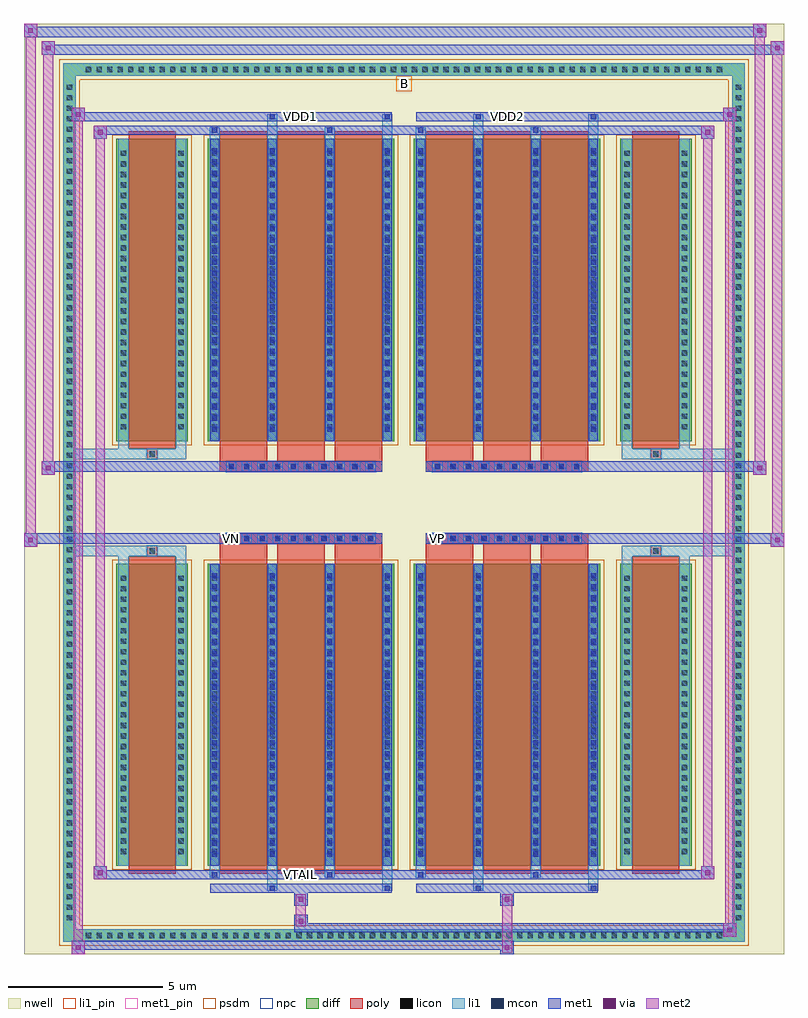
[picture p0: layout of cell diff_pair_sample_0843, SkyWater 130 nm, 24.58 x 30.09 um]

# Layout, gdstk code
import gdstk
lib = gdstk.Library(unit=1e-6, precision=5e-09)
def R(c, l, rs):  # rectangles x0, y0, x1, y1
    for r in rs: c.add(gdstk.rectangle(r[:2], r[2:], *l))
def A(c, l, x, y, w, h, nx, ny, dx, dy):  # array of equal rectangles
    R(c, l, [(x+i*dx, y+j*dy, x+i*dx+w, y+j*dy+h) for i in range(nx) for j in range(ny)])
def P(c, l, *ps):  # polygons
    for p in ps: c.add(gdstk.Polygon(p, *l))
nwell = (64, 20)
diff = (65, 20)
poly = (66, 20)
licon = (66, 44)
li1_pin = (67, 16)
li1 = (67, 20)
mcon = (67, 44)
met1_pin = (68, 16)
met1 = (68, 20)
via = (68, 44)
met2 = (69, 20)
psdm = (94, 20)
npc = (95, 20)

diff_pair_sample_0843 = lib.new_cell('diff_pair_sample_0843')
R(diff_pair_sample_0843, nwell, [(-12.29,-14.61,12.29,15.48), (-9.61,-12.8,-0.01,-0.8), (0.01,-12.8,9.61,-0.8), (-9.61,0.8,-0.01,12.8), (0.01,0.8,9.61,12.8)])
A(diff_pair_sample_0843, diff, -10.405, -14.21, 0.41, 0.41, 61, 2, 0.34, 28.01)
A(diff_pair_sample_0843, diff, -11.02, -13.635, 0.41, 0.41, 1, 80, 0, 0.34)
A(diff_pair_sample_0843, diff, 10.61, -13.635, 0.41, 0.41, 1, 80, 0, 0.34)
R(diff_pair_sample_0843, diff, [(-10.405,-14.21,10.405,-13.8), (-11.02,-13.635,-10.61,13.635), (10.61,-13.635,11.02,13.635), (-9.3,-11.755,-6.99,-1.985), (-6.35,-11.755,-0.32,-1.985), (0.32,-11.755,6.35,-1.985), (6.99,-11.755,9.3,-1.985), (-9.3,1.985,-6.99,11.755), (-6.35,1.985,-0.32,11.755), (0.32,1.985,6.35,11.755), (6.99,1.985,9.3,11.755), (-10.405,13.8,10.405,14.21)])
P(diff_pair_sample_0843, diff, [(11.02,14.21),(-11.02,14.21),(-11.02,-13.8),(-10.61,-13.8),(-10.61,13.8),(10.61,13.8),(10.61,-13.8),(-10.61,-13.8),(-11.02,-13.8),(-11.02,-14.21),(11.02,-14.21)])
A(diff_pair_sample_0843, poly, -5.96, -12.005, 1.53, 10.27, 3, 2, 1.86, 13.74)
A(diff_pair_sample_0843, poly, 0.71, -12.005, 1.53, 10.27, 3, 2, 1.86, 13.74)
A(diff_pair_sample_0843, poly, -5.96, -1.735, 1.53, 0.405, 3, 2, 1.86, 3.065)
A(diff_pair_sample_0843, poly, 0.71, -1.735, 1.53, 0.405, 3, 2, 1.86, 3.065)
A(diff_pair_sample_0843, poly, -5.75, -1.33, 0.33, 0.33, 10, 2, 0.5, 2.33)
A(diff_pair_sample_0843, poly, 0.92, -1.33, 0.33, 0.33, 10, 2, 0.5, 2.33)
R(diff_pair_sample_0843, poly, [(-8.91,-12.005,-7.38,-1.735), (7.38,-12.005,8.91,-1.735), (-8.31,-1.735,-7.98,-1.405), (-8.31,-1.735,-7.98,-1.405), (7.98,-1.735,8.31,-1.405), (7.98,-1.735,8.31,-1.405), (-5.96,-1.33,-0.71,-1), (0.71,-1.33,5.96,-1), (-5.96,1,-0.71,1.33), (0.71,1,5.96,1.33), (-8.31,1.405,-7.98,1.735), (-8.31,1.405,-7.98,1.735), (7.98,1.405,8.31,1.735), (7.98,1.405,8.31,1.735), (-8.91,1.735,-7.38,12.005), (7.38,1.735,8.91,12.005)])
A(diff_pair_sample_0843, licon, -10.285, -14.09, 0.17, 0.17, 61, 2, 0.34, 28.01)
A(diff_pair_sample_0843, licon, -10.9, -13.515, 0.17, 0.17, 1, 80, 0, 0.34)
A(diff_pair_sample_0843, licon, 10.73, -13.515, 0.17, 0.17, 1, 80, 0, 0.34)
A(diff_pair_sample_0843, licon, -9.16, -11.375, 0.17, 0.17, 1, 27, 0, 0.34)
A(diff_pair_sample_0843, licon, -7.3, -11.375, 0.17, 0.17, 1, 27, 0, 0.34)
A(diff_pair_sample_0843, licon, -6.21, -11.375, 0.17, 0.17, 4, 27, 1.86, 0.34)
A(diff_pair_sample_0843, licon, 0.46, -11.375, 0.17, 0.17, 4, 27, 1.86, 0.34)
A(diff_pair_sample_0843, licon, 7.13, -11.375, 0.17, 0.17, 1, 27, 0, 0.34)
A(diff_pair_sample_0843, licon, 8.99, -11.375, 0.17, 0.17, 1, 27, 0, 0.34)
A(diff_pair_sample_0843, licon, -5.67, -1.25, 0.17, 0.17, 10, 2, 0.5, 2.33)
A(diff_pair_sample_0843, licon, 1, -1.25, 0.17, 0.17, 10, 2, 0.5, 2.33)
A(diff_pair_sample_0843, licon, -9.16, 2.365, 0.17, 0.17, 1, 27, 0, 0.34)
A(diff_pair_sample_0843, licon, -7.3, 2.365, 0.17, 0.17, 1, 27, 0, 0.34)
A(diff_pair_sample_0843, licon, -6.21, 2.365, 0.17, 0.17, 4, 27, 1.86, 0.34)
A(diff_pair_sample_0843, licon, 0.46, 2.365, 0.17, 0.17, 4, 27, 1.86, 0.34)
A(diff_pair_sample_0843, licon, 7.13, 2.365, 0.17, 0.17, 1, 27, 0, 0.34)
A(diff_pair_sample_0843, licon, 8.99, 2.365, 0.17, 0.17, 1, 27, 0, 0.34)
R(diff_pair_sample_0843, licon, [(-8.23,-1.655,-8.06,-1.485), (8.06,-1.655,8.23,-1.485), (-8.23,1.485,-8.06,1.655), (8.06,1.485,8.23,1.655)])
R(diff_pair_sample_0843, li1_pin, [(-0.25,13.3,0.25,13.8)])
A(diff_pair_sample_0843, li1, -10.365, -14.17, 0.33, 0.33, 61, 2, 0.34, 28.01)
A(diff_pair_sample_0843, li1, -10.98, -13.595, 0.33, 0.33, 1, 80, 0, 0.34)
A(diff_pair_sample_0843, li1, 10.65, -13.595, 0.33, 0.33, 1, 80, 0, 0.34)
A(diff_pair_sample_0843, li1, -6.29, -11.755, 0.33, 9.77, 4, 2, 1.86, 13.74)
A(diff_pair_sample_0843, li1, 0.38, -11.755, 0.33, 9.77, 4, 2, 1.86, 13.74)
A(diff_pair_sample_0843, li1, -9.24, -11.455, 0.33, 0.33, 1, 27, 0, 0.34)
A(diff_pair_sample_0843, li1, -7.38, -11.455, 0.33, 0.33, 1, 27, 0, 0.34)
A(diff_pair_sample_0843, li1, -6.29, -11.455, 0.33, 0.33, 4, 27, 1.86, 0.34)
A(diff_pair_sample_0843, li1, -6.21, -11.455, 0.17, 0.17, 4, 26, 1.86, 0.36)
A(diff_pair_sample_0843, li1, -6.21, -11.455, 0.17, 9.17, 4, 2, 1.86, 13.74)
A(diff_pair_sample_0843, li1, 0.38, -11.455, 0.33, 0.33, 4, 27, 1.86, 0.34)
A(diff_pair_sample_0843, li1, 0.46, -11.455, 0.17, 0.17, 4, 26, 1.86, 0.36)
A(diff_pair_sample_0843, li1, 0.46, -11.455, 0.17, 9.17, 4, 2, 1.86, 13.74)
A(diff_pair_sample_0843, li1, 7.05, -11.455, 0.33, 0.33, 1, 27, 0, 0.34)
A(diff_pair_sample_0843, li1, 8.91, -11.455, 0.33, 0.33, 1, 27, 0, 0.34)
A(diff_pair_sample_0843, li1, -5.75, -1.33, 0.33, 0.33, 10, 2, 0.5, 2.33)
A(diff_pair_sample_0843, li1, 0.92, -1.33, 0.33, 0.33, 10, 2, 0.5, 2.33)
A(diff_pair_sample_0843, li1, -9.24, 2.285, 0.33, 0.33, 1, 27, 0, 0.34)
A(diff_pair_sample_0843, li1, -7.38, 2.285, 0.33, 0.33, 1, 27, 0, 0.34)
A(diff_pair_sample_0843, li1, -6.29, 2.285, 0.33, 0.33, 4, 27, 1.86, 0.34)
A(diff_pair_sample_0843, li1, -6.21, 2.285, 0.17, 0.17, 4, 26, 1.86, 0.36)
A(diff_pair_sample_0843, li1, 0.38, 2.285, 0.33, 0.33, 4, 27, 1.86, 0.34)
A(diff_pair_sample_0843, li1, 0.46, 2.285, 0.17, 0.17, 4, 26, 1.86, 0.36)
A(diff_pair_sample_0843, li1, 7.05, 2.285, 0.33, 0.33, 1, 27, 0, 0.34)
A(diff_pair_sample_0843, li1, 8.91, 2.285, 0.33, 0.33, 1, 27, 0, 0.34)
R(diff_pair_sample_0843, li1, [(-11.02,-14.21,-10.61,-13.8), (-11.02,-14.21,-10.61,-13.8), (-10.61,-14.21,10.61,-13.8), (10.61,-14.21,11.02,-13.8), (10.61,-14.21,11.02,-13.8), (-11.02,-13.8,-10.61,13.8), (10.61,-13.8,11.02,13.8), (-4.43,-12.56,-4.1,-11.755), (-4.35,-12.56,-4.18,-12.39), (-0.71,-12.56,-0.38,-11.755), (-0.63,-12.56,-0.46,-12.39), (2.24,-12.56,2.57,-11.755), (2.32,-12.56,2.49,-12.39), (5.96,-12.56,6.29,-11.755), (6.04,-12.56,6.21,-12.39), (-6.29,-12.13,-5.96,-11.755), (-6.21,-12.13,-6.04,-11.96), (-2.57,-12.13,-2.24,-11.755), (-2.49,-12.13,-2.32,-11.96), (0.38,-12.13,0.71,-11.755), (0.46,-12.13,0.63,-11.96), (4.1,-12.13,4.43,-11.755), (4.18,-12.13,4.35,-11.96), (-9.24,-11.755,-8.91,-1.985), (-7.38,-11.755,-7.05,-1.985), (7.05,-11.755,7.38,-1.985), (8.91,-11.755,9.24,-1.985), (-9.24,-1.985,-8.91,-1.405), (-7.38,-1.985,-7.05,-1.405), (7.05,-1.985,7.38,-1.405), (8.91,-1.985,9.24,-1.405), (-11.02,-1.735,-8.31,-1.405), (-9.24,-1.735,-8.31,-1.405), (-8.31,-1.735,-7.98,-1.405), (-7.98,-1.735,-7.05,-1.405), (7.05,-1.735,7.98,-1.405), (7.98,-1.735,8.31,-1.405), (7.98,-1.735,11.02,-1.405), (8.31,-1.735,9.24,-1.405), (-11.02,1.405,-8.31,1.735), (-9.24,1.405,-8.31,1.735), (-9.24,1.405,-8.91,1.985), (-8.31,1.405,-7.98,1.735), (-7.98,1.405,-7.05,1.735), (-7.38,1.405,-7.05,1.985), (7.05,1.405,7.98,1.735), (7.05,1.405,7.38,1.985), (7.98,1.405,8.31,1.735), (7.98,1.405,11.02,1.735), (8.31,1.405,9.24,1.735), (8.91,1.405,9.24,1.985), (-9.24,1.985,-8.91,11.755), (-7.38,1.985,-7.05,11.755), (7.05,1.985,7.38,11.755), (8.91,1.985,9.24,11.755), (-6.29,11.755,-5.96,12.13), (-4.43,11.755,-4.1,12.56), (-2.57,11.755,-2.24,12.13), (-0.71,11.755,-0.38,12.56), (0.38,11.755,0.71,12.13), (2.24,11.755,2.57,12.56), (4.1,11.755,4.43,12.13), (5.96,11.755,6.29,12.56), (-6.21,11.96,-6.04,12.13), (-2.49,11.96,-2.32,12.13), (0.46,11.96,0.63,12.13), (4.18,11.96,4.35,12.13), (-4.35,12.39,-4.18,12.56), (-0.63,12.39,-0.46,12.56), (2.32,12.39,2.49,12.56), (6.04,12.39,6.21,12.56), (-11.02,13.8,-10.61,14.21), (-11.02,13.8,-10.61,14.21), (-10.61,13.8,10.61,14.21), (10.61,13.8,11.02,14.21), (10.61,13.8,11.02,14.21)])
A(diff_pair_sample_0843, mcon, -6.21, -11.455, 0.17, 0.17, 4, 26, 1.86, 0.36)
A(diff_pair_sample_0843, mcon, 0.46, -11.455, 0.17, 0.17, 4, 26, 1.86, 0.36)
A(diff_pair_sample_0843, mcon, -5.67, -1.25, 0.17, 0.17, 10, 2, 0.5, 2.33)
A(diff_pair_sample_0843, mcon, 1, -1.25, 0.17, 0.17, 10, 2, 0.5, 2.33)
A(diff_pair_sample_0843, mcon, -6.21, 2.285, 0.17, 0.17, 4, 26, 1.86, 0.36)
A(diff_pair_sample_0843, mcon, 0.46, 2.285, 0.17, 0.17, 4, 26, 1.86, 0.36)
R(diff_pair_sample_0843, mcon, [(-4.35,-12.56,-4.18,-12.39), (-0.63,-12.56,-0.46,-12.39), (2.32,-12.56,2.49,-12.39), (6.04,-12.56,6.21,-12.39), (-6.21,-12.13,-6.04,-11.96), (-2.49,-12.13,-2.32,-11.96), (0.46,-12.13,0.63,-11.96), (4.18,-12.13,4.35,-11.96), (-6.21,11.96,-6.04,12.13), (-2.49,11.96,-2.32,12.13), (0.46,11.96,0.63,12.13), (4.18,11.96,4.35,12.13), (-4.35,12.39,-4.18,12.56), (-0.63,12.39,-0.46,12.56), (2.32,12.39,2.49,12.56), (6.04,12.39,6.21,12.56)])
R(diff_pair_sample_0843, met1_pin, [(-3.47,-12.17,-3.2,-11.9), (-5.72,-1.29,-5.45,-1.02), (0.95,-1.29,1.22,-1.02), (-3.47,12.35,-3.2,12.62), (3.2,12.35,3.47,12.62)])
A(diff_pair_sample_0843, met1, -6.27, -11.755, 0.29, 9.77, 4, 2, 1.86, 13.74)
A(diff_pair_sample_0843, met1, 0.4, -11.755, 0.29, 9.77, 4, 2, 1.86, 13.74)
A(diff_pair_sample_0843, met1, -6.27, -11.515, 0.29, 0.29, 4, 26, 1.86, 0.36)
A(diff_pair_sample_0843, met1, 0.4, -11.515, 0.29, 0.29, 4, 26, 1.86, 0.36)
A(diff_pair_sample_0843, met1, -5.73, -1.31, 0.29, 0.29, 10, 2, 0.5, 2.33)
A(diff_pair_sample_0843, met1, 0.94, -1.31, 0.29, 0.29, 10, 2, 0.5, 2.33)
A(diff_pair_sample_0843, met1, -6.27, 2.225, 0.29, 0.29, 4, 26, 1.86, 0.36)
A(diff_pair_sample_0843, met1, 0.4, 2.225, 0.29, 0.29, 4, 26, 1.86, 0.36)
R(diff_pair_sample_0843, met1, [(-10.75,-14.61,-10.32,-14.18), (3.12,-14.61,3.55,-14.18), (-10.75,-14.47,3.55,-14.18), (10.32,-14.04,10.75,-13.61), (-3.55,-13.9,10.75,-13.61), (-3.55,-13.76,-3.12,-13.33), (-3.55,-13.05,-3.12,-12.62), (3.12,-13.05,3.55,-12.62), (-6.27,-12.62,-0.4,-12.33), (-4.41,-12.62,-4.12,-12.33), (-0.69,-12.62,-0.4,-12.33), (0.4,-12.62,6.27,-12.33), (2.26,-12.62,2.55,-12.33), (5.98,-12.62,6.27,-12.33), (-10.04,-12.19,-9.61,-11.76), (-10.04,-12.19,-6.27,-11.9), (-6.27,-12.19,-5.98,-11.9), (-6.27,-12.19,-0.4,-11.9), (-2.55,-12.19,-2.26,-11.9), (-0.4,-12.19,0.4,-11.9), (0.4,-12.19,0.69,-11.9), (0.4,-12.19,6.27,-11.9), (4.12,-12.19,4.41,-11.9), (6.27,-12.19,10.04,-11.9), (9.61,-12.19,10.04,-11.76), (-12.29,-1.43,-11.86,-1), (11.86,-1.43,12.29,-1), (-12.29,-1.33,-0.71,-1), (-5.96,-1.33,-0.71,-1), (0.71,-1.33,5.96,-1), (0.71,-1.33,12.29,-1), (-11.72,0.9,-11.29,1.33), (11.29,0.9,11.72,1.33), (-11.72,1,-5.96,1.33), (-5.96,1,-0.71,1.33), (0.71,1,5.96,1.33), (5.96,1,11.72,1.33), (-10.04,11.76,-9.61,12.19), (9.61,11.76,10.04,12.19), (-10.04,11.9,-6.27,12.19), (-6.27,11.9,-5.98,12.19), (-6.27,11.9,-0.4,12.19), (-2.55,11.9,-2.26,12.19), (-0.4,11.9,0.4,12.19), (0.4,11.9,0.69,12.19), (0.4,11.9,6.27,12.19), (4.12,11.9,4.41,12.19), (6.27,11.9,10.04,12.19), (-10.75,12.33,-10.32,12.76), (-10.75,12.33,-6.27,12.62), (-6.27,12.33,-0.4,12.62), (-4.41,12.33,-4.12,12.62), (-0.69,12.33,-0.4,12.62), (0.4,12.33,6.27,12.62), (2.26,12.33,2.55,12.62), (5.98,12.33,6.27,12.62), (6.27,12.33,10.75,12.62), (10.32,12.33,10.75,12.76), (-11.72,14.48,-11.29,14.91), (-11.72,14.48,-9.61,14.81), (-9.61,14.48,9.61,14.81), (9.61,14.48,12.29,14.81), (11.86,14.48,12.29,14.91), (-12.29,15.05,-11.86,15.48), (-12.29,15.05,-9.61,15.38), (-9.61,15.05,9.61,15.38), (9.61,15.05,11.72,15.38), (11.29,15.05,11.72,15.48)])
R(diff_pair_sample_0843, via, [(-10.61,-14.47,-10.46,-14.32), (3.26,-14.47,3.41,-14.32), (10.46,-13.9,10.61,-13.75), (-3.41,-13.62,-3.26,-13.47), (-3.41,-12.91,-3.26,-12.76), (3.26,-12.91,3.41,-12.76), (-9.9,-12.05,-9.75,-11.9), (9.75,-12.05,9.9,-11.9), (-12.15,-1.29,-12,-1.14), (12,-1.29,12.15,-1.14), (-11.58,1.04,-11.43,1.19), (11.43,1.04,11.58,1.19), (-9.9,11.9,-9.75,12.05), (9.75,11.9,9.9,12.05), (-10.61,12.47,-10.46,12.62), (10.46,12.47,10.61,12.62), (-11.58,14.62,-11.43,14.77), (12,14.62,12.15,14.77), (-12.15,15.19,-12,15.34), (11.43,15.19,11.58,15.34)])
R(diff_pair_sample_0843, met2, [(-10.75,-14.61,-10.32,-14.18), (-10.68,-14.61,-10.39,12.76), (-10.39,-14.61,-10.32,-14.18), (-10.7,-14.56,-10.37,-14.23), (3.17,-14.56,3.5,-14.23), (3.17,-14.23,3.5,-13), (10.32,-14.04,10.75,-13.61), (10.39,-14.04,10.68,12.76), (10.68,-14.04,10.75,-13.61), (10.37,-13.99,10.7,-13.66), (-3.5,-13.71,-3.17,-13.38), (-3.5,-13.38,-3.17,-13), (-3.5,-13,-3.17,-12.67), (3.17,-13,3.5,-12.67), (-10.04,-12.19,-9.61,-11.76), (-9.97,-12.19,-9.68,12.19), (-9.68,-12.19,-9.61,-11.76), (9.61,-12.19,10.04,-11.76), (9.68,-12.19,9.97,12.19), (9.97,-12.19,10.04,-11.76), (-9.99,-12.14,-9.66,-11.81), (9.66,-12.14,9.99,-11.81), (-12.29,-1.43,-11.86,-1), (-12.24,-1.43,-11.91,15.48), (-11.91,-1.43,-11.86,-1), (11.86,-1.43,12.29,-1), (11.91,-1.43,12.24,14.91), (12.24,-1.43,12.29,-1), (-12.24,-1.38,-11.91,-1.05), (11.91,-1.38,12.24,-1.05), (-11.72,0.9,-11.29,1.33), (-11.67,0.9,-11.34,14.91), (-11.34,0.9,-11.29,1.33), (11.29,0.9,11.72,1.33), (11.34,0.9,11.67,15.48), (11.67,0.9,11.72,1.33), (-11.67,0.95,-11.34,1.28), (11.34,0.95,11.67,1.28), (-10.04,11.76,-9.61,12.19), (-9.68,11.76,-9.61,12.19), (9.61,11.76,10.04,12.19), (9.97,11.76,10.04,12.19), (-9.99,11.81,-9.66,12.14), (9.66,11.81,9.99,12.14), (-10.75,12.33,-10.32,12.76), (-10.39,12.33,-10.32,12.76), (10.32,12.33,10.75,12.76), (10.68,12.33,10.75,12.76), (-10.7,12.38,-10.37,12.71), (10.37,12.38,10.7,12.71), (-11.72,14.48,-11.29,14.91), (-11.34,14.48,-11.29,14.91), (11.86,14.48,12.29,14.91), (12.24,14.48,12.29,14.91), (-11.67,14.53,-11.34,14.86), (11.91,14.53,12.24,14.86), (-12.29,15.05,-11.86,15.48), (-11.91,15.05,-11.86,15.48), (11.29,15.05,11.72,15.48), (11.67,15.05,11.72,15.48), (-12.24,15.1,-11.91,15.43), (11.34,15.1,11.67,15.43)])
R(diff_pair_sample_0843, psdm, [(-9.43,-11.885,-6.86,-1.855), (-6.48,-11.885,-0.19,-1.855), (0.19,-11.885,6.48,-1.855), (6.86,-11.885,9.43,-1.855), (-9.43,1.855,-6.86,11.885), (-6.48,1.855,-0.19,11.885), (0.19,1.855,6.48,11.885), (6.86,1.855,9.43,11.885)])
P(diff_pair_sample_0843, psdm, [(11.15,14.34),(-11.15,14.34),(-11.15,-13.67),(-10.48,-13.67),(-10.48,13.67),(10.48,13.67),(10.48,-13.67),(-10.48,-13.67),(-11.15,-13.67),(-11.15,-14.34),(11.15,-14.34)])
A(diff_pair_sample_0843, npc, -5.77, -1.35, 0.37, 0.37, 10, 2, 0.5, 2.33)
A(diff_pair_sample_0843, npc, 0.9, -1.35, 0.37, 0.37, 10, 2, 0.5, 2.33)
R(diff_pair_sample_0843, npc, [(-8.33,-1.755,-7.96,-1.385), (7.96,-1.755,8.33,-1.385), (-5.77,-1.35,-4.9,-0.98), (-5.77,-1.35,-4.9,-0.98), (-5.27,-1.35,-4.4,-0.98), (-5.27,-1.35,-4.4,-0.98), (-4.77,-1.35,-3.9,-0.98), (-4.77,-1.35,-3.9,-0.98), (-4.27,-1.35,-3.4,-0.98), (-4.27,-1.35,-3.4,-0.98), (-3.77,-1.35,-2.9,-0.98), (-3.77,-1.35,-2.9,-0.98), (-3.27,-1.35,-2.4,-0.98), (-3.27,-1.35,-2.4,-0.98), (-2.77,-1.35,-1.9,-0.98), (-2.77,-1.35,-1.9,-0.98), (-2.27,-1.35,-1.4,-0.98), (-2.27,-1.35,-1.4,-0.98), (-1.77,-1.35,-0.9,-0.98), (-1.77,-1.35,-0.9,-0.98), (0.9,-1.35,1.77,-0.98), (0.9,-1.35,1.77,-0.98), (1.4,-1.35,2.27,-0.98), (1.4,-1.35,2.27,-0.98), (1.9,-1.35,2.77,-0.98), (1.9,-1.35,2.77,-0.98), (2.4,-1.35,3.27,-0.98), (2.4,-1.35,3.27,-0.98), (2.9,-1.35,3.77,-0.98), (2.9,-1.35,3.77,-0.98), (3.4,-1.35,4.27,-0.98), (3.4,-1.35,4.27,-0.98), (3.9,-1.35,4.77,-0.98), (3.9,-1.35,4.77,-0.98), (4.4,-1.35,5.27,-0.98), (4.4,-1.35,5.27,-0.98), (4.9,-1.35,5.77,-0.98), (4.9,-1.35,5.77,-0.98), (-5.77,0.98,-4.9,1.35), (-5.77,0.98,-4.9,1.35), (-5.27,0.98,-4.4,1.35), (-5.27,0.98,-4.4,1.35), (-4.77,0.98,-3.9,1.35), (-4.77,0.98,-3.9,1.35), (-4.27,0.98,-3.4,1.35), (-4.27,0.98,-3.4,1.35), (-3.77,0.98,-2.9,1.35), (-3.77,0.98,-2.9,1.35), (-3.27,0.98,-2.4,1.35), (-3.27,0.98,-2.4,1.35), (-2.77,0.98,-1.9,1.35), (-2.77,0.98,-1.9,1.35), (-2.27,0.98,-1.4,1.35), (-2.27,0.98,-1.4,1.35), (-1.77,0.98,-0.9,1.35), (-1.77,0.98,-0.9,1.35), (0.9,0.98,1.77,1.35), (0.9,0.98,1.77,1.35), (1.4,0.98,2.27,1.35), (1.4,0.98,2.27,1.35), (1.9,0.98,2.77,1.35), (1.9,0.98,2.77,1.35), (2.4,0.98,3.27,1.35), (2.4,0.98,3.27,1.35), (2.9,0.98,3.77,1.35), (2.9,0.98,3.77,1.35), (3.4,0.98,4.27,1.35), (3.4,0.98,4.27,1.35), (3.9,0.98,4.77,1.35), (3.9,0.98,4.77,1.35), (4.4,0.98,5.27,1.35), (4.4,0.98,5.27,1.35), (4.9,0.98,5.77,1.35), (4.9,0.98,5.77,1.35), (-8.33,1.385,-7.96,1.755), (7.96,1.385,8.33,1.755)])
diff_pair_sample_0843.add(gdstk.Label('VTAIL', (-3.335,-12.035), layer=68, texttype=5))
diff_pair_sample_0843.add(gdstk.Label('VN', (-5.585,-1.155), layer=68, texttype=5))
diff_pair_sample_0843.add(gdstk.Label('VP', (1.085,-1.155), layer=68, texttype=5))
diff_pair_sample_0843.add(gdstk.Label('B', (0,13.55), layer=67, texttype=5))
diff_pair_sample_0843.add(gdstk.Label('VDD2', (3.335,12.485), layer=68, texttype=5))
diff_pair_sample_0843.add(gdstk.Label('VDD1', (-3.335,12.485), layer=68, texttype=5))

lib.write_gds('diff_pair_sample_0843.gds')
